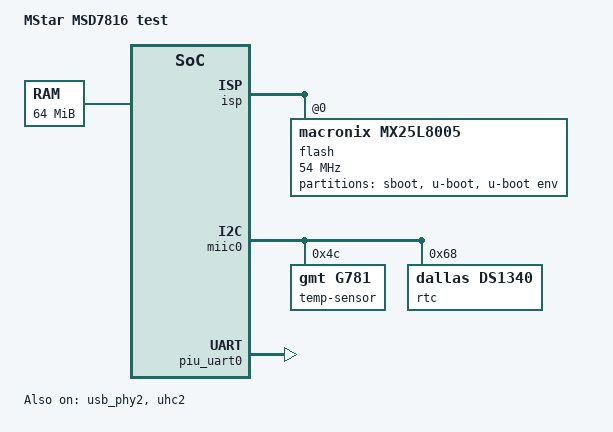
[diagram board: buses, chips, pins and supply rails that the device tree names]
// SPDX-License-Identifier: GPL-2.0
/dts-v1/;

#include "kronus-msd7816.dtsi"

/ {
	compatible = "mstar,msd7816", "mstar,kronus";
	model = "MStar MSD7816 test";

	aliases {
		serial0 = &piu_uart0;
	};

	chosen {
		bootargs = "console=ttyS0,115200 root=/dev/sda2 rootwait clk_ignore_unused rw fbcon=font:TER16x32";
	};

	memory@0 {
		device_type = "memory";
		reg = <0x0 0x4000000>;
	};

	reserved-memory {
		#address-cells = <1>;
		#size-cells = <1>;
		ranges;

		fb-memory@2100000 {
			reg = <0x2100000 0x400000>;
		};

		/* ve framebuffer */
		ve-memory@3200000 {
			reg = <0x3200000 0x1a0000>;
		};
	};

	framebuffer@2100000 {
		compatible = "simple-framebuffer";
		reg = <0x2100000 0x400000>;
		width = <1920>;
		height = <1080>;
		stride = <(1920*2)>;
		format = "r5g6b5";
	};
};


&isp {
	#address-cells = <1>;
	#size-cells = <0>;
	status = "okay";

	flash@0 {
		compatible = "macronix,mx25l8005", "jedec,spi-nor";
		reg = <0>;
		spi-max-frequency = <54000000>; /* something like that */
		m25p,fast-read;

		partitions {
			#address-cells = <1>;
			#size-cells = <1>;
			compatible = "fixed-partitions";

			sboot@0 {
				label = "sboot";
				reg = <0x0 0x10000>;
			};

			u-boot@10000 {
				label = "u-boot";
				reg = <0x10000 0xd0000>;
			};

			u-boot-env@e0000 {
				label = "u-boot env";
				reg = <0xe0000 0x20000>;
			};
		};
	};
};

&miic0 {
	#address-cells = <1>;
	#size-cells = <0>;
	status = "okay";

	temp-sensor@4c {
		compatible = "gmt,g781";
		reg = <0x4c>;
		#thermal-sensor-cells = <1>;
	};

	rtc@68 {
		compatible = "dallas,ds1340";
		reg = <0x68>;
	};
};

&usb_phy2 {
	status = "okay";
};

&uhc2 {
	status = "okay";
};

&piu_uart0 {
	status = "okay";
};
